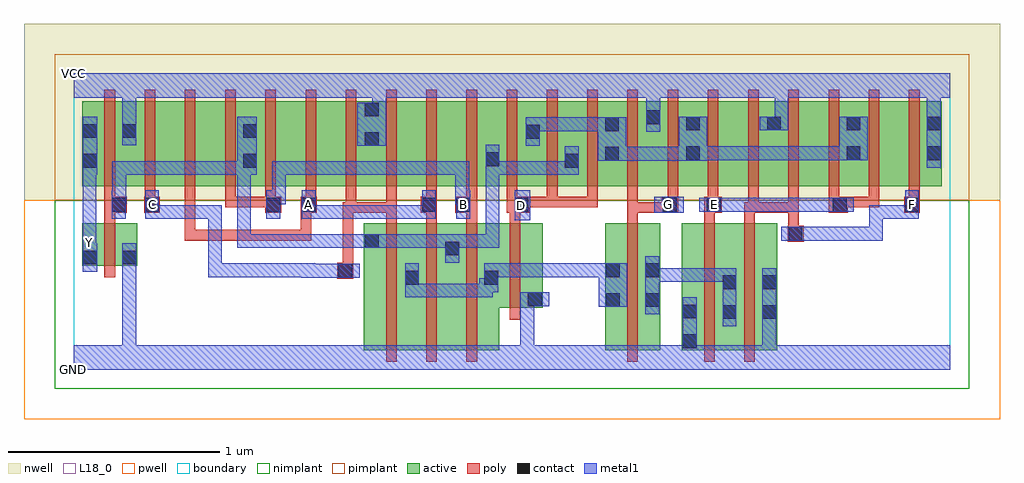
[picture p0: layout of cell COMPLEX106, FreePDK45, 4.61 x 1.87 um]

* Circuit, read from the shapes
.subckt COMPLEX106 A B C D E F G GND VCC Y
M1 GND n1 Y VSUBS nfet w=0.2u l=0.05u
M2 n2 C n1 VSUBS nfet w=0.6u l=0.05u
M3 n1 A n2 VSUBS nfet w=0.6u l=0.05u
M4 n2 B n1 VSUBS nfet w=0.6u l=0.05u
M5 GND D n2 VSUBS nfet w=0.4u l=0.05u
M6 n3 G n2 VSUBS nfet w=0.6u l=0.05u
M7 n3 E GND VSUBS nfet w=0.6u l=0.05u
M8 GND F n3 VSUBS nfet w=0.6u l=0.05u
M9 VCC n1 Y n4 pfet w=0.4u l=0.05u
M10 n5 C VCC n4 pfet w=0.4u l=0.05u
M11 n6 A n5 n4 pfet w=0.4u l=0.05u
M12 n1 B n6 n4 pfet w=0.4u l=0.05u
M13 n7 B n1 n4 pfet w=0.4u l=0.05u
M14 n8 A n7 n4 pfet w=0.4u l=0.05u
M15 VCC C n8 n4 pfet w=0.4u l=0.05u
M16 n9 C VCC n4 pfet w=0.4u l=0.05u
M17 n10 A n9 n4 pfet w=0.4u l=0.05u
M18 n1 B n10 n4 pfet w=0.4u l=0.05u
M19 n11 D n1 n4 pfet w=0.4u l=0.05u m=3
M20 VCC G n11 n4 pfet w=0.4u l=0.05u m=2
M21 n12 E n11 n4 pfet w=0.4u l=0.05u
M22 VCC F n12 n4 pfet w=0.4u l=0.05u
M23 n13 F VCC n4 pfet w=0.4u l=0.05u
M24 n11 E n13 n4 pfet w=0.4u l=0.05u
M25 n14 E n11 n4 pfet w=0.4u l=0.05u
M26 VCC F n14 n4 pfet w=0.4u l=0.05u
.ends

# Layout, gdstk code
import gdstk
lib = gdstk.Library(unit=1e-6, precision=1e-09)
def R(c, l, rs):  # rectangles x0, y0, x1, y1
    for r in rs: c.add(gdstk.rectangle(r[:2], r[2:], *l))
def A(c, l, x, y, w, h, nx, ny, dx, dy):  # array of equal rectangles
    R(c, l, [(x+i*dx, y+j*dy, x+i*dx+w, y+j*dy+h) for i in range(nx) for j in range(ny)])
active = (1, 0)
pwell = (2, 0)
nwell = (3, 0)
nimplant = (4, 0)
pimplant = (5, 0)
poly = (9, 0)
contact = (10, 0)
metal1 = (11, 0)
L18_0 = (18, 0)
boundary = (235, 0)

complex106 = lib.new_cell('COMPLEX106')
A(complex106, active, 1.37, 0.145, 0.075, 0.547, 3, 1, 0.19, 0)
A(complex106, active, 0.455, 0.867, 0.19, 0.4, 3, 1, 0.57, 0)
R(complex106, active, [(1.37,0.092,1.635,0.692), (1.56,0.092,1.825,0.692), (1.75,0.092,2.01,0.692), (2.51,0.092,2.77,0.692), (2.872,0.092,3.135,0.692), (2.872,0.092,2.947,0.692), (3.06,0.092,3.322,0.692), (2.51,0.145,2.585,0.692), (2.695,0.145,2.77,0.692), (3.06,0.145,3.135,0.692), (3.247,0.145,3.322,0.692), (1.935,0.2,2.01,0.492), (1.935,0.292,2.215,0.692), (2.14,0.292,2.215,0.492), (0.04,0.492,0.115,0.692), (0.04,0.492,0.3,0.692), (0.225,0.492,0.3,0.692), (0.04,0.867,0.115,1.2), (0.04,0.867,0.3,1.267), (0.225,0.867,0.3,1.267), (0.225,0.867,0.455,1.267), (0.645,0.867,0.87,1.267), (0.795,0.867,1.025,1.267), (0.795,0.867,0.87,1.2), (1.215,0.867,1.445,1.267), (1.37,0.867,1.445,1.267), (1.37,0.867,1.595,1.267), (1.785,0.867,2.015,1.267), (1.94,0.867,2.015,1.2), (1.94,0.867,2.205,1.267), (2.13,0.867,2.205,1.2), (2.13,0.867,2.39,1.267), (2.315,0.867,2.58,1.267), (2.315,0.867,2.39,1.07), (2.505,0.867,2.58,1.2), (2.505,0.867,2.775,1.267), (2.7,0.867,2.775,1.267), (2.7,0.867,2.962,1.267), (2.887,0.867,2.962,1.2), (2.887,0.867,3.115,1.267), (3.115,0.867,3.345,1.267), (3.27,0.867,3.345,1.267), (3.27,0.867,3.495,1.267), (3.495,0.867,3.72,1.267), (3.645,0.867,3.875,1.267), (3.645,0.867,3.72,1.2), (3.875,0.867,4.1,1.267), (4.025,0.867,4.1,1.267)])
R(complex106, pwell, [(-0.235,-0.235,4.375,0.8)])
R(complex106, nwell, [(-0.235,0.8,4.375,1.635)])
R(complex106, nimplant, [(-0.09,-0.09,4.23,0.8)])
R(complex106, pimplant, [(-0.09,0.8,4.23,1.49)])
A(complex106, poly, 1.475, 0.037, 0.05, 0.71, 3, 1, 0.19, 0)
A(complex106, poly, 1.475, 0.697, 0.05, 0.095, 3, 1, 0.19, 0)
A(complex106, poly, 0.715, 0.767, 0.05, 0.095, 3, 1, 0.19, 0)
A(complex106, poly, 1.665, 0.767, 0.05, 0.095, 5, 1, 0.19, 0)
A(complex106, poly, 3.565, 0.767, 0.05, 0.095, 3, 1, 0.19, 0)
A(complex106, poly, 0.145, 0.812, 0.05, 0.51, 21, 1, 0.19, 0)
R(complex106, poly, [(2.615,0.037,2.665,0.747), (2.977,0.037,3.027,0.747), (3.167,0.037,3.217,0.747), (2.06,0.237,2.11,0.747), (1.245,0.43,1.32,0.505), (0.145,0.437,0.195,0.747), (1.27,0.455,1.32,0.792), (3.372,0.605,3.447,0.68), (0.525,0.61,0.575,0.66), (0.525,0.61,0.575,0.66), (0.525,0.61,0.575,0.66), (0.525,0.61,0.575,0.66), (0.525,0.61,0.575,0.66), (0.525,0.61,0.745,0.66), (0.525,0.61,0.575,0.862), (0.695,0.61,0.745,0.66), (0.695,0.61,0.745,0.66), (0.695,0.61,0.745,0.66), (0.695,0.61,0.99,0.66), (0.94,0.61,0.99,0.66), (0.94,0.61,0.99,0.66), (0.94,0.61,0.99,0.66), (0.94,0.61,1.122,0.66), (1.072,0.61,1.122,0.66), (1.072,0.61,1.122,0.66), (1.072,0.61,1.122,0.66), (1.072,0.61,1.122,0.66), (1.072,0.61,1.122,0.66), (1.072,0.61,1.122,0.792), (3.375,0.63,3.425,0.68), (3.375,0.63,3.425,0.68), (3.375,0.63,3.425,0.792), (0.145,0.697,0.195,0.792), (2.06,0.697,2.11,0.792), (2.615,0.697,2.665,0.792), (2.977,0.697,3.027,0.792), (3.167,0.697,3.217,0.792), (0.145,0.742,0.25,0.817), (0.332,0.742,0.407,0.817), (0.905,0.742,0.98,0.817), (1.072,0.742,1.147,0.817), (1.27,0.742,1.32,0.792), (1.27,0.742,1.32,0.792), (1.27,0.742,1.335,0.792), (1.285,0.742,1.335,0.792), (1.285,0.742,1.335,0.792), (1.285,0.742,1.335,0.862), (1.285,0.742,1.525,0.792), (1.475,0.742,1.525,0.792), (1.475,0.742,1.525,0.862), (1.64,0.742,1.715,0.817), (1.802,0.742,1.905,0.817), (2.045,0.742,2.152,0.817), (2.615,0.742,2.665,0.792), (2.615,0.742,2.665,0.862), (2.615,0.742,2.827,0.792), (2.777,0.742,2.827,0.792), (2.777,0.742,2.827,0.792), (2.777,0.742,2.855,0.817), (2.977,0.742,3.06,0.817), (3.167,0.742,3.235,0.792), (3.185,0.742,3.235,0.862), (3.185,0.742,3.425,0.792), (3.375,0.742,3.425,0.792), (3.375,0.742,3.425,0.792), (3.375,0.742,3.425,0.792), (3.375,0.742,3.425,0.862), (3.565,0.742,3.655,0.817), (3.922,0.742,3.997,0.817), (0.145,0.767,0.195,0.862), (0.335,0.767,0.385,0.862), (0.715,0.767,0.765,0.817), (0.715,0.767,0.955,0.817), (0.905,0.767,0.955,0.817), (0.905,0.767,0.955,0.817), (2.102,0.767,2.285,0.817), (2.235,0.767,2.285,0.817), (2.235,0.767,2.285,0.817), (2.235,0.767,2.285,0.817), (2.235,0.767,2.475,0.817), (2.425,0.767,2.475,0.817), (2.425,0.767,2.475,0.817), (2.425,0.767,2.475,0.817), (2.805,0.767,2.855,0.862), (2.995,0.767,3.045,0.862), (3.605,0.767,3.805,0.817), (3.755,0.767,3.805,0.817), (3.755,0.767,3.805,0.817), (3.755,0.767,3.805,0.817)])
R(complex106, contact, [(2.877,0.102,2.942,0.167), (3.065,0.24,3.13,0.305), (3.252,0.24,3.317,0.305), (2.877,0.242,2.942,0.307), (2.515,0.297,2.58,0.362), (2.7,0.297,2.765,0.362), (2.145,0.3,2.21,0.365), (3.065,0.38,3.13,0.445), (3.252,0.38,3.317,0.445), (1.565,0.402,1.63,0.467), (1.94,0.402,2.005,0.467), (1.25,0.435,1.315,0.5), (2.515,0.437,2.58,0.502), (2.7,0.437,2.765,0.502), (0.045,0.497,0.11,0.562), (0.23,0.497,0.295,0.562), (1.755,0.54,1.82,0.605), (1.375,0.575,1.44,0.64), (3.377,0.61,3.442,0.675), (0.18,0.747,0.245,0.812), (0.337,0.747,0.402,0.812), (0.91,0.747,0.975,0.812), (1.077,0.747,1.142,0.812), (1.645,0.747,1.71,0.812), (1.807,0.747,1.872,0.812), (2.082,0.747,2.147,0.812), (2.782,0.747,2.847,0.812), (2.99,0.747,3.055,0.812), (3.585,0.747,3.65,0.812), (3.927,0.747,3.992,0.812), (0.045,0.955,0.11,1.02), (0.8,0.955,0.865,1.02), (2.32,0.955,2.385,1.02), (1.945,0.962,2.01,1.027), (2.51,0.987,2.575,1.052), (2.892,0.99,2.957,1.055), (3.65,0.99,3.715,1.055), (4.03,0.99,4.095,1.055), (1.375,1.057,1.44,1.122), (2.135,1.092,2.2,1.157), (0.045,1.095,0.11,1.16), (0.23,1.095,0.295,1.16), (0.8,1.095,0.865,1.16), (2.51,1.127,2.575,1.192), (2.892,1.13,2.957,1.195), (3.275,1.13,3.34,1.195), (3.65,1.13,3.715,1.195), (4.03,1.13,4.095,1.195), (2.705,1.16,2.77,1.225), (1.375,1.197,1.44,1.262)])
R(complex106, metal1, [(0,0,4.14,0.115), (0.23,0.05,0.295,0.115), (0.23,0.05,0.295,0.115), (0.23,0.05,0.295,0.115), (0.23,0.05,0.295,0.115), (0.23,0.05,0.295,0.115), (0.23,0.05,0.295,0.115), (0.23,0.05,0.295,0.115), (0.23,0.05,0.295,0.115), (0.23,0.05,0.295,0.527), (2.11,0.05,2.175,0.115), (2.11,0.05,2.175,0.115), (2.11,0.05,2.175,0.115), (2.11,0.05,2.175,0.115), (2.11,0.05,2.175,0.365), (2.877,0.05,2.942,0.115), (2.877,0.05,2.942,0.115), (2.877,0.05,2.942,0.132), (3.252,0.05,3.317,0.115), (3.252,0.05,3.317,0.115), (3.252,0.05,3.317,0.27), (2.877,0.067,2.942,0.342), (3.065,0.205,3.13,0.48), (3.252,0.205,3.317,0.48), (2.7,0.262,2.765,0.537), (2.48,0.297,2.615,0.502), (2.11,0.3,2.245,0.365), (1.565,0.342,1.63,0.407), (1.565,0.342,1.63,0.407), (1.565,0.342,1.767,0.407), (1.565,0.342,1.63,0.502), (1.702,0.342,1.767,0.407), (1.702,0.342,1.98,0.407), (1.915,0.342,1.98,0.432), (1.915,0.367,2.005,0.432), (1.94,0.367,2.005,0.502), (2.7,0.415,2.817,0.48), (2.752,0.415,2.817,0.48), (2.752,0.415,2.99,0.48), (2.925,0.415,2.99,0.48), (2.925,0.415,3.13,0.48), (3.065,0.415,3.13,0.48), (3.065,0.415,3.13,0.48), (1.075,0.435,1.28,0.5), (1.075,0.435,1.14,0.502), (1.215,0.435,1.35,0.5), (0.635,0.437,0.7,0.502), (0.635,0.437,0.7,0.502), (0.635,0.437,0.7,0.502), (0.635,0.437,0.865,0.502), (0.635,0.437,0.7,0.777), (0.8,0.437,0.865,0.502), (0.8,0.437,1.002,0.502), (0.937,0.437,1.002,0.502), (0.937,0.437,1.002,0.502), (0.937,0.437,1.002,0.502), (0.937,0.437,1.14,0.502), (1.075,0.437,1.14,0.502), (1.075,0.437,1.14,0.502), (1.94,0.437,2.247,0.502), (2.182,0.437,2.247,0.502), (2.182,0.437,2.247,0.502), (2.182,0.437,2.247,0.502), (2.182,0.437,2.247,0.502), (2.182,0.437,2.247,0.502), (2.182,0.437,2.385,0.502), (2.32,0.437,2.385,0.502), (2.32,0.437,2.385,0.502), (2.32,0.437,2.385,0.502), (2.32,0.437,2.522,0.502), (2.457,0.437,2.522,0.502), (2.457,0.437,2.545,0.502), (0.042,0.462,0.11,0.597), (0.23,0.462,0.295,0.597), (1.755,0.505,1.82,0.64), (0.042,0.532,0.107,0.667), (0.042,0.532,0.107,0.597), (0.772,0.575,0.837,0.64), (0.772,0.575,0.837,0.64), (0.772,0.575,0.837,0.64), (0.772,0.575,0.837,0.985), (0.772,0.575,1.002,0.64), (0.937,0.575,1.002,0.64), (0.937,0.575,1.002,0.64), (0.937,0.575,1.002,0.64), (0.937,0.575,1.14,0.64), (1.075,0.575,1.14,0.64), (1.075,0.575,1.14,0.64), (1.075,0.575,1.14,0.64), (1.075,0.575,1.28,0.64), (1.215,0.575,1.28,0.64), (1.215,0.575,1.405,0.64), (1.34,0.575,1.475,0.64), (1.41,0.575,1.475,0.64), (1.41,0.575,1.475,0.64), (1.41,0.575,1.625,0.64), (1.56,0.575,1.625,0.64), (1.56,0.575,1.625,0.64), (1.56,0.575,1.625,0.64), (1.56,0.575,1.82,0.64), (1.755,0.575,2.01,0.64), (1.945,0.575,2.01,0.64), (1.945,0.575,2.01,0.64), (1.945,0.575,2.01,0.64), (1.945,0.575,2.01,0.64), (1.945,0.575,2.01,0.64), (1.945,0.575,2.01,0.985), (0.042,0.602,0.107,0.985), (3.342,0.61,3.477,0.675), (3.412,0.61,3.477,0.675), (3.412,0.61,3.477,0.675), (3.412,0.61,3.477,0.675), (3.412,0.61,3.477,0.675), (3.412,0.61,3.615,0.675), (3.55,0.61,3.615,0.675), (3.55,0.61,3.615,0.675), (3.55,0.61,3.615,0.675), (3.55,0.61,3.822,0.675), (3.757,0.61,3.822,0.777), (3.757,0.61,3.822,0.675), (3.757,0.61,3.822,0.675), (3.757,0.61,3.822,0.675), (2.082,0.707,2.157,0.847), (0.18,0.712,0.245,0.847), (0.337,0.712,0.402,0.847), (0.337,0.712,0.402,0.777), (0.337,0.712,0.402,0.777), (0.337,0.712,0.562,0.777), (0.497,0.712,0.562,0.777), (0.497,0.712,0.7,0.777), (0.635,0.712,0.7,0.777), (0.635,0.712,0.7,0.777), (0.635,0.712,0.7,0.777), (0.91,0.712,0.975,0.847), (1.077,0.712,1.142,0.847), (1.077,0.712,1.142,0.777), (1.077,0.712,1.142,0.777), (1.077,0.712,1.28,0.777), (1.215,0.712,1.28,0.777), (1.215,0.712,1.487,0.777), (1.422,0.712,1.487,0.777), (1.422,0.712,1.487,0.777), (1.422,0.712,1.487,0.777), (1.422,0.712,1.63,0.777), (1.565,0.712,1.63,0.777), (1.565,0.712,1.71,0.777), (1.645,0.712,1.71,0.847), (1.807,0.712,1.872,0.847), (3.757,0.712,3.992,0.777), (3.757,0.712,3.822,0.777), (3.927,0.712,3.992,0.847), (2.742,0.742,2.882,0.817), (2.955,0.747,3.092,0.812), (3.027,0.747,3.13,0.812), (3.065,0.747,3.13,0.812), (3.065,0.747,3.267,0.812), (3.202,0.747,3.267,0.812), (3.202,0.747,3.267,0.812), (3.202,0.747,3.267,0.812), (3.202,0.747,3.407,0.812), (3.342,0.747,3.407,0.812), (3.342,0.747,3.407,0.812), (3.342,0.747,3.407,0.812), (3.342,0.747,3.615,0.812), (3.55,0.747,3.685,0.812), (0.18,0.782,0.245,0.847), (0.18,0.782,0.247,0.847), (0.182,0.782,0.247,0.985), (0.91,0.782,1.002,0.847), (0.937,0.782,1.002,0.847), (0.937,0.782,1.002,0.985), (1.802,0.782,1.867,0.847), (1.802,0.782,1.872,0.847), (1.802,0.782,1.867,0.985), (0.042,0.92,0.11,1.195), (0.182,0.92,0.247,0.985), (0.182,0.92,0.402,0.985), (0.337,0.92,0.402,0.985), (0.337,0.92,0.402,0.985), (0.337,0.92,0.402,0.985), (0.337,0.92,0.562,0.985), (0.497,0.92,0.562,0.985), (0.497,0.92,0.562,0.985), (0.497,0.92,0.562,0.985), (0.497,0.92,0.837,0.985), (0.772,0.92,0.837,0.985), (0.772,0.92,0.837,0.985), (0.772,0.92,0.865,1.195), (0.937,0.92,1.002,0.985), (0.937,0.92,1.14,0.985), (1.075,0.92,1.14,0.985), (1.075,0.92,1.14,0.985), (1.075,0.92,1.14,0.985), (1.075,0.92,1.28,0.985), (1.215,0.92,1.28,0.985), (1.215,0.92,1.417,0.985), (1.352,0.92,1.417,0.985), (1.352,0.92,1.417,0.985), (1.352,0.92,1.417,0.985), (1.352,0.92,1.625,0.985), (1.56,0.92,1.625,0.985), (1.56,0.92,1.625,0.985), (1.56,0.92,1.625,0.985), (1.56,0.92,1.867,0.985), (1.802,0.92,1.867,0.985), (1.945,0.92,2.147,0.985), (1.945,0.92,2.01,1.062), (2.082,0.92,2.147,0.985), (2.082,0.92,2.147,0.985), (2.082,0.92,2.147,0.985), (2.082,0.92,2.385,0.985), (2.32,0.92,2.385,1.055), (2.32,0.92,2.385,0.985), (2.32,0.92,2.385,0.985), (4.03,0.955,4.095,1.23), (2.475,0.987,2.61,1.192), (2.545,0.987,2.61,1.052), (2.545,0.987,2.61,1.052), (2.545,0.987,2.66,1.052), (2.595,0.987,2.66,1.052), (2.595,0.987,2.785,1.052), (2.72,0.987,2.785,1.052), (2.72,0.987,2.797,1.052), (2.732,0.987,2.797,1.052), (2.732,0.987,2.922,1.052), (2.857,0.987,2.992,1.195), (2.927,0.99,2.992,1.055), (2.927,0.99,2.992,1.055), (2.927,0.99,3.13,1.055), (3.065,0.99,3.13,1.055), (3.065,0.99,3.27,1.055), (3.205,0.99,3.27,1.055), (3.205,0.99,3.27,1.055), (3.205,0.99,3.27,1.055), (3.205,0.99,3.407,1.055), (3.342,0.99,3.407,1.055), (3.342,0.99,3.407,1.055), (3.342,0.99,3.407,1.055), (3.342,0.99,3.68,1.055), (3.615,0.99,3.68,1.055), (3.615,0.99,3.68,1.055), (3.615,0.99,3.75,1.195), (1.34,1.057,1.475,1.262), (2.135,1.057,2.2,1.192), (0.23,1.06,0.295,1.195), (2.705,1.125,2.77,1.26), (2.135,1.127,2.385,1.192), (2.32,1.127,2.385,1.192), (2.32,1.127,2.385,1.192), (2.32,1.127,2.385,1.192), (2.32,1.127,2.522,1.192), (2.457,1.127,2.522,1.192), (2.457,1.127,2.54,1.192), (0.23,1.13,0.295,1.35), (3.24,1.13,3.375,1.195), (3.31,1.13,3.375,1.35), (4.03,1.165,4.095,1.35), (2.705,1.195,2.77,1.35), (1.41,1.197,1.475,1.35), (0,1.285,4.14,1.4)])
R(complex106, L18_0, [(0,0,4.14,0.115), (0.23,0.05,0.295,0.115), (0.23,0.05,0.295,0.115), (0.23,0.05,0.295,0.115), (0.23,0.05,0.295,0.115), (0.23,0.05,0.295,0.115), (0.23,0.05,0.295,0.115), (0.23,0.05,0.295,0.115), (0.23,0.05,0.295,0.115), (0.23,0.05,0.295,0.527), (2.11,0.05,2.175,0.115), (2.11,0.05,2.175,0.115), (2.11,0.05,2.175,0.115), (2.11,0.05,2.175,0.115), (2.11,0.05,2.175,0.365), (2.877,0.05,2.942,0.115), (2.877,0.05,2.942,0.115), (2.877,0.05,2.942,0.132), (3.252,0.05,3.317,0.115), (3.252,0.05,3.317,0.115), (3.252,0.05,3.317,0.27), (2.877,0.067,2.942,0.342), (3.252,0.205,3.317,0.48), (2.11,0.3,2.245,0.365), (1.075,0.435,1.14,0.502), (1.075,0.435,1.28,0.5), (1.215,0.435,1.35,0.5), (0.635,0.437,0.7,0.502), (0.635,0.437,0.7,0.502), (0.635,0.437,0.7,0.502), (0.635,0.437,0.7,0.777), (0.635,0.437,0.865,0.502), (0.8,0.437,0.865,0.502), (0.8,0.437,1.002,0.502), (0.937,0.437,1.002,0.502), (0.937,0.437,1.002,0.502), (0.937,0.437,1.002,0.502), (0.937,0.437,1.14,0.502), (1.075,0.437,1.14,0.502), (1.075,0.437,1.14,0.502), (0.042,0.462,0.11,0.597), (0.23,0.462,0.295,0.597), (0.042,0.532,0.107,0.667), (0.042,0.532,0.107,0.597), (0.042,0.567,0.107,0.632), (0.042,0.602,0.107,0.985), (3.342,0.61,3.477,0.675), (3.412,0.61,3.477,0.675), (3.412,0.61,3.477,0.675), (3.412,0.61,3.477,0.675), (3.412,0.61,3.477,0.675), (3.412,0.61,3.615,0.675), (3.55,0.61,3.615,0.675), (3.55,0.61,3.615,0.675), (3.55,0.61,3.615,0.675), (3.55,0.61,3.822,0.675), (3.757,0.61,3.822,0.675), (3.757,0.61,3.822,0.675), (3.757,0.61,3.822,0.675), (3.757,0.61,3.822,0.777), (2.082,0.707,2.157,0.847), (0.337,0.712,0.402,0.847), (0.337,0.712,0.402,0.777), (0.337,0.712,0.402,0.777), (0.337,0.712,0.562,0.777), (0.497,0.712,0.562,0.777), (0.497,0.712,0.7,0.777), (0.635,0.712,0.7,0.777), (0.635,0.712,0.7,0.777), (0.635,0.712,0.7,0.777), (0.91,0.712,0.975,0.847), (1.077,0.712,1.142,0.847), (1.077,0.712,1.142,0.777), (1.077,0.712,1.142,0.777), (1.077,0.712,1.28,0.777), (1.215,0.712,1.28,0.777), (1.215,0.712,1.487,0.777), (1.422,0.712,1.487,0.777), (1.422,0.712,1.487,0.777), (1.422,0.712,1.487,0.777), (1.422,0.712,1.63,0.777), (1.565,0.712,1.63,0.777), (1.565,0.712,1.71,0.777), (1.645,0.712,1.71,0.847), (1.807,0.712,1.872,0.847), (3.757,0.712,3.822,0.777), (3.757,0.712,3.992,0.777), (3.927,0.712,3.992,0.847), (2.082,0.742,2.147,0.807), (2.742,0.742,2.882,0.817), (0.337,0.747,0.402,0.812), (1.077,0.747,1.142,0.812), (1.807,0.747,1.872,0.812), (2.777,0.747,2.842,0.812), (2.955,0.747,3.092,0.812), (2.992,0.747,3.057,0.812), (3.027,0.747,3.13,0.812), (3.065,0.747,3.13,0.812), (3.065,0.747,3.267,0.812), (3.202,0.747,3.267,0.812), (3.202,0.747,3.267,0.812), (3.202,0.747,3.267,0.812), (3.202,0.747,3.407,0.812), (3.342,0.747,3.407,0.812), (3.342,0.747,3.407,0.812), (3.342,0.747,3.407,0.812), (3.342,0.747,3.615,0.812), (3.55,0.747,3.685,0.812), (3.927,0.747,3.992,0.812), (0.91,0.782,1.002,0.847), (0.937,0.782,1.002,0.847), (0.937,0.782,1.002,0.985), (1.802,0.782,1.867,0.847), (1.802,0.782,1.867,0.985), (1.802,0.782,1.872,0.847), (0.042,0.92,0.11,1.195), (0.937,0.92,1.002,0.985), (0.937,0.92,1.14,0.985), (1.075,0.92,1.14,0.985), (1.075,0.92,1.14,0.985), (1.075,0.92,1.14,0.985), (1.075,0.92,1.28,0.985), (1.215,0.92,1.28,0.985), (1.215,0.92,1.417,0.985), (1.352,0.92,1.417,0.985), (1.352,0.92,1.417,0.985), (1.352,0.92,1.417,0.985), (1.352,0.92,1.625,0.985), (1.56,0.92,1.625,0.985), (1.56,0.92,1.625,0.985), (1.56,0.92,1.625,0.985), (1.56,0.92,1.867,0.985), (1.802,0.92,1.867,0.985), (4.03,0.955,4.095,1.23), (1.34,1.057,1.475,1.262), (0.23,1.06,0.295,1.195), (2.705,1.125,2.77,1.26), (0.23,1.13,0.295,1.35), (3.24,1.13,3.375,1.195), (3.31,1.13,3.375,1.35), (4.03,1.165,4.095,1.35), (2.705,1.195,2.77,1.35), (1.41,1.197,1.475,1.35), (0,1.285,4.14,1.4)])
R(complex106, boundary, [(0,0,4.14,1.4)])
complex106.add(gdstk.Label('A', (1.11,0.78), layer=11, texttype=0))
complex106.add(gdstk.Label('B', (1.84,0.78), layer=11, texttype=0))
complex106.add(gdstk.Label('C', (0.37,0.78), layer=11, texttype=0))
complex106.add(gdstk.Label('D', (2.115,0.775), layer=11, texttype=0))
complex106.add(gdstk.Label('E', (3.025,0.78), layer=11, texttype=0))
complex106.add(gdstk.Label('F', (3.96,0.78), layer=11, texttype=0))
complex106.add(gdstk.Label('G', (2.81,0.78), layer=11, texttype=0))
complex106.add(gdstk.Label('Y', (0.075,0.6), layer=11, texttype=0))
complex106.add(gdstk.Label('VCC', (0,1.4), layer=11, texttype=0))
complex106.add(gdstk.Label('GND', (0,0), layer=11, texttype=0))

lib.write_gds('COMPLEX106.gds')
